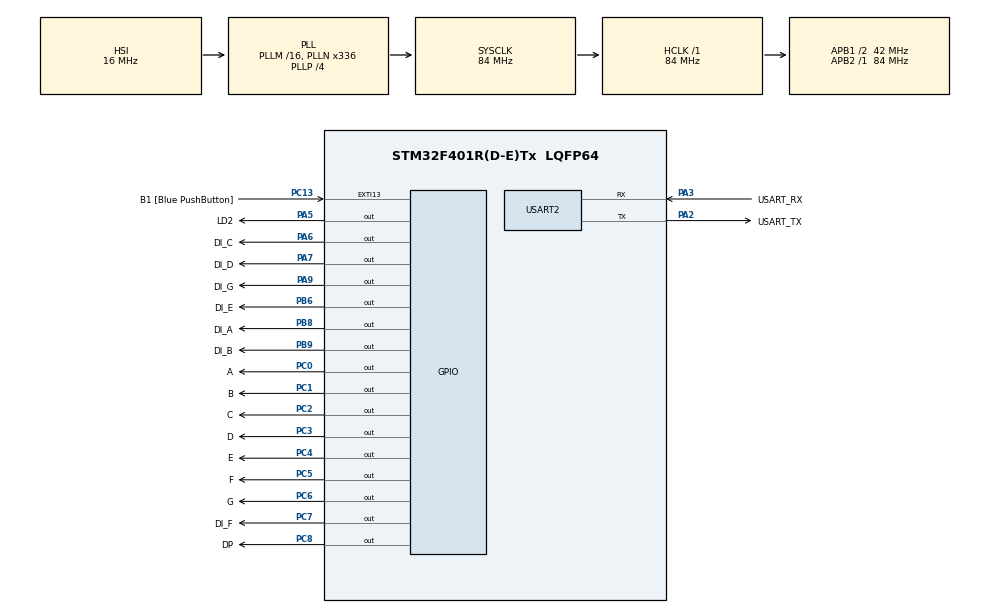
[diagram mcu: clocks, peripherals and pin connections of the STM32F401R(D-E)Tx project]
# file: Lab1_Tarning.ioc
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Mcu.Family=STM32F4
Mcu.Name=STM32F401R(D-E)Tx
Mcu.Package=LQFP64
NVIC.PriorityGroup=NVIC_PRIORITYGROUP_0
PA13.GPIO_Label=TMS
PA13.Mode=Serial_Wire
PA13.Signal=SYS_JTMS-SWDIO
PA14.GPIO_Label=TCK
PA14.Mode=Serial_Wire
PA14.Signal=SYS_JTCK-SWCLK
PA2.GPIO_Label=USART_TX
PA2.GPIO_Mode=GPIO_MODE_AF_PP
PA2.GPIO_PuPd=GPIO_NOPULL
PA2.GPIO_Speed=GPIO_SPEED_FREQ_LOW
PA2.Mode=Asynchronous
PA2.Signal=USART2_TX
PA3.GPIO_Label=USART_RX
PA3.GPIO_Mode=GPIO_MODE_AF_PP
PA3.GPIO_PuPd=GPIO_NOPULL
PA3.GPIO_Speed=GPIO_SPEED_FREQ_LOW
PA3.Mode=Asynchronous
PA3.Signal=USART2_RX
PA5.GPIO_Label=LD2
PA5.Signal=GPIO_Output
PA6.GPIO_Label=DI_C
PA6.Signal=GPIO_Output
PA7.GPIO_Label=DI_D
PA7.Signal=GPIO_Output
PA9.GPIO_Label=DI_G
PA9.Signal=GPIO_Output
PB3.GPIO_Label=SWO
PB3.Signal=SYS_JTDO-SWO
PB6.GPIO_Label=DI_E
PB6.Signal=GPIO_Output
PB8.GPIO_Label=DI_A
PB8.Signal=GPIO_Output
PB9.GPIO_Label=DI_B
PB9.Signal=GPIO_Output
PC0.GPIO_Label=A
PC0.Signal=GPIO_Output
PC1.GPIO_Label=B
PC1.Signal=GPIO_Output
PC13-ANTI_TAMP.GPIO_Label=B1 [Blue PushButton]
PC13-ANTI_TAMP.GPIO_ModeDefaultEXTI=GPIO_MODE_IT_FALLING
PC13-ANTI_TAMP.GPIO_PuPd=GPIO_NOPULL
PC13-ANTI_TAMP.Signal=GPXTI13
PC14-OSC32_IN.Mode=LSE-External-Oscillator
PC14-OSC32_IN.Signal=RCC_OSC32_IN
PC15-OSC32_OUT.Mode=LSE-External-Oscillator
PC15-OSC32_OUT.Signal=RCC_OSC32_OUT
PC2.GPIO_Label=C
PC2.Signal=GPIO_Output
PC3.GPIO_Label=D
PC3.Signal=GPIO_Output
PC4.GPIO_Label=E
PC4.Signal=GPIO_Output
PC5.GPIO_Label=F
PC5.Signal=GPIO_Output
PC6.GPIO_Label=G
PC6.Signal=GPIO_Output
PC7.GPIO_Label=DI_F
PC7.Signal=GPIO_Output
PC8.GPIO_Label=DP
PC8.Signal=GPIO_Output
PH0\ -\ OSC_IN.Mode=HSE-External-Clock-Source
PH0\ -\ OSC_IN.Signal=RCC_OSC_IN
PH1\ -\ OSC_OUT.Mode=HSE-External-Clock-Source
PH1\ -\ OSC_OUT.Signal=RCC_OSC_OUT
ProjectManager.HeapSize=0x200
ProjectManager.StackSize=0x400
ProjectManager.TargetToolchain=STM32CubeIDE
RCC.48MHZClocksFreq_Value=48000000
RCC.AHBFreq_Value=84000000
RCC.APB1CLKDivider=RCC_HCLK_DIV2
RCC.APB1Freq_Value=42000000
RCC.APB1TimFreq_Value=84000000
RCC.APB2Freq_Value=84000000
RCC.APB2TimFreq_Value=84000000
RCC.CortexFreq_Value=84000000
RCC.HCLKFreq_Value=84000000
RCC.HSE_VALUE=8000000
RCC.HSI_VALUE=16000000
RCC.PLLN=336
RCC.PLLP=RCC_PLLP_DIV4
RCC.PLLQ=7
RCC.SYSCLKFreq_VALUE=84000000
RCC.SYSCLKSource=RCC_SYSCLKSOURCE_PLLCLK
RCC.VCOOutputFreq_Value=336000000
USART2.VirtualMode=VM_ASYNC
board=NUCLEO-F401RE

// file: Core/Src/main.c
/* USER CODE BEGIN Header */
/**
  ******************************************************************************
  * @file           : main.c
  * @brief          : Main program body
  ******************************************************************************
  * @attention
  *
  * Copyright (c) 2024 STMicroelectronics.
  * All rights reserved.
  *
  * This software is licensed under terms that can be found in the LICENSE file
  * in the root directory of this software component.
  * If no LICENSE file comes with this software, it is provided AS-IS.
  *
  ******************************************************************************
  */
/* USER CODE END Header */
#include "main.h"

UART_HandleTypeDef huart2;

void SystemClock_Config(void);
static void MX_GPIO_Init(void);
static void MX_USART2_UART_Init(void);
/* USER CODE BEGIN PFP */
int is_blue_button_pressed();
void put_die_dots(uint8_t);

//sseg
void put_on_sseg(uint8_t);

/* USER CODE END PFP */

/* USER CODE BEGIN 0 */
const uint8_t sseg[] = {0x3F,0x6,0x5B,0x4F,0x66,0x6D,0x7D,0x07,0x7F,0x6F};
const uint8_t sseg_err = 0xDC;

void put_on_sseg(uint8_t dec_nbr){
	uint8_t sseg_val;

	if ((dec_nbr >= 0) & (dec_nbr <= 9)){
		GPIOC->ODR  = sseg[dec_nbr];
	}
	else
	{
		sseg_val = sseg_err;
	}
	//GPIOC->ODR = sseg_val;

}

/* USER CODE END 0 */

int main(void)
{

  /* MCU Configuration--------------------------------------------------------*/

  /* Reset of all peripherals, Initializes the Flash interface and the Systick. */
  HAL_Init();

  /* Configure the system clock */
  SystemClock_Config();

  /* Initialize all configured peripherals */
  MX_GPIO_Init();
  MX_USART2_UART_Init();

  /* Infinite loop */
  /* USER CODE BEGIN WHILE */
  HAL_Init();

  int sseg_die		  = 0;
  int pressed = 0;
  uint8_t die_value = 0;
  while (1)
  {

	  //pressed = is_blue_button_pressed();
	  if (pressed)
	  {
		  //HAL_GPIO_WritePin(LD2_GPIO_Port, LD2_Pin, GPIO_PIN_SET);
		  die_value++;
		  if(die_value > 6){
			  die_value = 1;
		  }

		  sseg_die++;
		  if(sseg_die > 9){
			  sseg_die = 0;
		  }

	  }
	  else
	  {
		  put_on_sseg(sseg_die);
		  put_die_dots(die_value);
		  HAL_Delay(1);
		  //HAL_GPIO_WritePin(LD2_GPIO_Port, LD2_Pin, GPIO_PIN_RESET);
	  }

    /* USER CODE END WHILE */

  }
}

void SystemClock_Config(void)
{
  RCC_OscInitTypeDef RCC_OscInitStruct = {0};
  RCC_ClkInitTypeDef RCC_ClkInitStruct = {0};

  /** Configure the main internal regulator output voltage
  */
  __HAL_RCC_PWR_CLK_ENABLE();
  __HAL_PWR_VOLTAGESCALING_CONFIG(PWR_REGULATOR_VOLTAGE_SCALE2);

  /** Initializes the RCC Oscillators according to the specified parameters
  * in the RCC_OscInitTypeDef structure.
  */
  RCC_OscInitStruct.OscillatorType = RCC_OSCILLATORTYPE_HSI;
  RCC_OscInitStruct.HSIState = RCC_HSI_ON;
  RCC_OscInitStruct.HSICalibrationValue = RCC_HSICALIBRATION_DEFAULT;
  RCC_OscInitStruct.PLL.PLLState = RCC_PLL_ON;
  RCC_OscInitStruct.PLL.PLLSource = RCC_PLLSOURCE_HSI;
  RCC_OscInitStruct.PLL.PLLM = 16;
  RCC_OscInitStruct.PLL.PLLN = 336;
  RCC_OscInitStruct.PLL.PLLP = RCC_PLLP_DIV4;
  RCC_OscInitStruct.PLL.PLLQ = 7;
  if (HAL_RCC_OscConfig(&RCC_OscInitStruct) != HAL_OK)
  {
    Error_Handler();
  }

  /** Initializes the CPU, AHB and APB buses clocks
  */
  RCC_ClkInitStruct.ClockType = RCC_CLOCKTYPE_HCLK|RCC_CLOCKTYPE_SYSCLK
                              |RCC_CLOCKTYPE_PCLK1|RCC_CLOCKTYPE_PCLK2;
  RCC_ClkInitStruct.SYSCLKSource = RCC_SYSCLKSOURCE_PLLCLK;
  RCC_ClkInitStruct.AHBCLKDivider = RCC_SYSCLK_DIV1;
  RCC_ClkInitStruct.APB1CLKDivider = RCC_HCLK_DIV2;
  RCC_ClkInitStruct.APB2CLKDivider = RCC_HCLK_DIV1;

  if (HAL_RCC_ClockConfig(&RCC_ClkInitStruct, FLASH_LATENCY_2) != HAL_OK)
  {
    Error_Handler();
  }
}

static void MX_USART2_UART_Init(void)
{

  huart2.Instance = USART2;
  huart2.Init.BaudRate = 115200;
  huart2.Init.WordLength = UART_WORDLENGTH_8B;
  huart2.Init.StopBits = UART_STOPBITS_1;
  huart2.Init.Parity = UART_PARITY_NONE;
  huart2.Init.Mode = UART_MODE_TX_RX;
  huart2.Init.HwFlowCtl = UART_HWCONTROL_NONE;
  huart2.Init.OverSampling = UART_OVERSAMPLING_16;
  if (HAL_UART_Init(&huart2) != HAL_OK)
  {
    Error_Handler();
  }

}

static void MX_GPIO_Init(void)
{
  GPIO_InitTypeDef GPIO_InitStruct = {0};

  /* GPIO Ports Clock Enable */
  __HAL_RCC_GPIOC_CLK_ENABLE();
  __HAL_RCC_GPIOH_CLK_ENABLE();
  __HAL_RCC_GPIOA_CLK_ENABLE();
  __HAL_RCC_GPIOB_CLK_ENABLE();

  /*Configure GPIO pin Output Level */
  HAL_GPIO_WritePin(GPIOC, A_Pin|B_Pin|C_Pin|D_Pin
                          |E_Pin|F_Pin|G_Pin|DI_F_Pin
                          |DP_Pin, GPIO_PIN_RESET);

  /*Configure GPIO pin Output Level */
  HAL_GPIO_WritePin(GPIOA, LD2_Pin|DI_C_Pin|DI_D_Pin|DI_G_Pin, GPIO_PIN_RESET);

  /*Configure GPIO pin Output Level */
  HAL_GPIO_WritePin(GPIOB, DI_E_Pin|DI_A_Pin|DI_B_Pin, GPIO_PIN_RESET);

  /*Configure GPIO pin : B1_Pin */
  GPIO_InitStruct.Pin = B1_Pin;
  GPIO_InitStruct.Mode = GPIO_MODE_IT_FALLING;
  GPIO_InitStruct.Pull = GPIO_NOPULL;
  HAL_GPIO_Init(B1_GPIO_Port, &GPIO_InitStruct);

  /*Configure GPIO pins : A_Pin B_Pin C_Pin D_Pin
                           E_Pin F_Pin G_Pin DI_F_Pin
                           DP_Pin */
  GPIO_InitStruct.Pin = A_Pin|B_Pin|C_Pin|D_Pin
                          |E_Pin|F_Pin|G_Pin|DI_F_Pin
                          |DP_Pin;
  GPIO_InitStruct.Mode = GPIO_MODE_OUTPUT_PP;
  GPIO_InitStruct.Pull = GPIO_NOPULL;
  GPIO_InitStruct.Speed = GPIO_SPEED_FREQ_LOW;
  HAL_GPIO_Init(GPIOC, &GPIO_InitStruct);

  /*Configure GPIO pins : LD2_Pin DI_C_Pin DI_D_Pin DI_G_Pin */
  GPIO_InitStruct.Pin = LD2_Pin|DI_C_Pin|DI_D_Pin|DI_G_Pin;
  GPIO_InitStruct.Mode = GPIO_MODE_OUTPUT_PP;
  GPIO_InitStruct.Pull = GPIO_NOPULL;
  GPIO_InitStruct.Speed = GPIO_SPEED_FREQ_LOW;
  HAL_GPIO_Init(GPIOA, &GPIO_InitStruct);

  /*Configure GPIO pins : DI_E_Pin DI_A_Pin DI_B_Pin */
  GPIO_InitStruct.Pin = DI_E_Pin|DI_A_Pin|DI_B_Pin;
  GPIO_InitStruct.Mode = GPIO_MODE_OUTPUT_PP;
  GPIO_InitStruct.Pull = GPIO_NOPULL;
  GPIO_InitStruct.Speed = GPIO_SPEED_FREQ_LOW;
  HAL_GPIO_Init(GPIOB, &GPIO_InitStruct);

}

void Error_Handler(void)
{
  __disable_irq();
  while (1)
  {
  }
}
